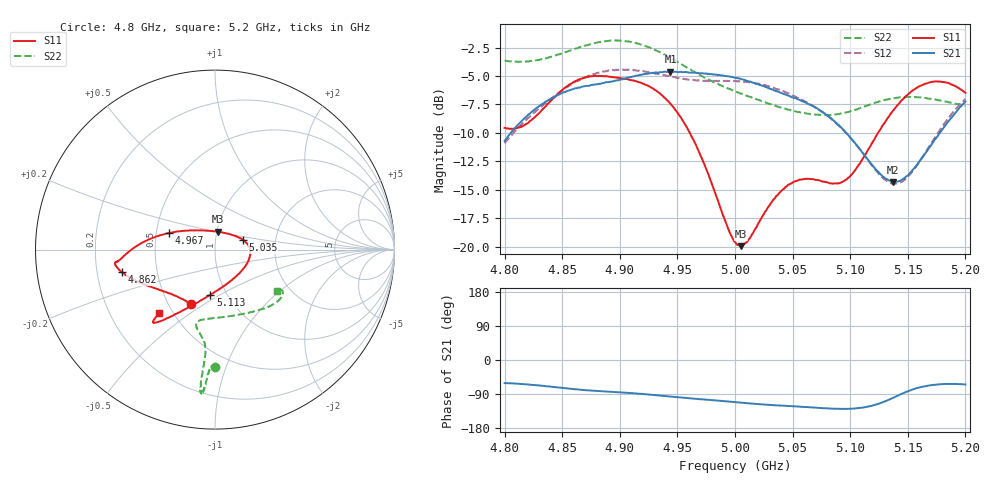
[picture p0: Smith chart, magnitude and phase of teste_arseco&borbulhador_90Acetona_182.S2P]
! Network Analyzer HP8722D
! Hewlett-Packard
! Data name: Linha & Wilkinson
! Saver's name: Rodrigo Anjos
! Comments: Teste da utilização de aquisição
! continua pelo VNA HP8722D
! Time and date: 17/4/2025 12:34
!  Frequency  S11  S21  S12  S22
# HZ  S  MA R 50
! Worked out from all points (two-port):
!   401 points, 4.8 GHz to 5.2 GHz, reference 50 ohm
!   highest |S21| = -4.62 dB at 4.944 GHz (marker M1); lowest = -14.3 dB at 5.137 GHz (marker M2)
!   |S21| within 3 dB of the highest: 4.83 GHz to 5.067 GHz (236.7 MHz wide, 4.78 % of centre); 5.196627 GHz to end of sweep
!   lowest |S11| = -20.0 dB at 5.005 GHz (marker M3), VSWR 1.22, Z = 50.4 + j10.1 ohm
!   |S11| at or under -10 dB: 4.961 GHz to 5.124 GHz (163.5 MHz wide, 3.24 % of centre)
!   |S22| runs from -8.5 to -1.9 dB; largest |S21 - S12| = 0.88
!   S11 on the Smith chart (normalised r, x): 4.8 GHz: 0.64, -0.44; 4.862 GHz: 0.31, -0.11; 4.967 GHz: 0.58, +0.12; 5.035 GHz: 1.36, +0.15; 5.113 GHz: 0.84, -0.45; 5.2 GHz: 0.42, -0.38
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4.8e9  0.3324 -114.0  0.2916 -61.0  0.2848 -175.1  0.6567 -89.9
4.819e9  0.3465 -134.0  0.3731 -64.4  0.3611 -174.0  0.6516 -91.5
4.862e9  0.5352 -166.5  0.4968 -77.2  0.5317 -177.0  0.7433 -93.9
4.867e9  0.5474 -168.5  0.5043 -78.9  0.5466 -177.9  0.7565 -94.2
4.9e9  0.5508 -173.0  0.5405 -85.4  0.5985 175.3  0.8035 -95.5
4.934e9  0.4747 -179.1  0.5821 -93.7  0.5731 171.6  0.7186 -95.9
4.944e9  0.4243 176.2  0.5875 -96.5  0.5584 171.9  0.6747 -95.7
4.967e9  0.2731 160.3  0.58 -102.4  0.5368 173.7  0.5759 -95.3
5e9  0.1048 99.1  0.552 -111.3  0.5349 176.0  0.4814 -99.4
5.005e9  0.1004 81.9  0.5456 -112.8  0.5318 176.0  0.4705 -100.7
5.012e9  0.1076 60.0  0.5321 -114.5  0.5274 175.7  0.4566 -102.3
5.035e9  0.1643 19.6  0.483 -119.5  0.4951 174.6  0.4156 -103.7
5.05e9  0.1913 4.4  0.4526 -122.1  0.4605 174.0  0.3967 -100.0
5.067e9  0.1979 -13.7  0.4161 -125.2  0.4186 173.5  0.381 -90.9
5.093e9  0.1922 -58.0  0.3306 -128.9  0.3295 173.9  0.3848 -70.8
5.113e9  0.2531 -95.9  0.2498 -124.5  0.2487 -180.0  0.4139 -55.1
5.134e9  0.3762 -117.1  0.1948 -104.3  0.191 -157.1  0.4452 -43.1
5.137e9  0.3939 -118.9  0.1923 -100.2  0.1892 -152.4  0.4486 -41.8
5.15e9  0.4657 -124.8  0.2052 -82.7  0.2025 -132.2  0.4553 -36.9
5.17e9  0.5287 -129.6  0.2775 -66.4  0.283 -112.6  0.4461 -32.2
5.184e9  0.5252 -130.9  0.3494 -63.2  0.3602 -107.4  0.4332 -31.2
5.2e9  0.4735 -131.3  0.4338 -64.5  0.4451 -106.6  0.4165 -33.6
